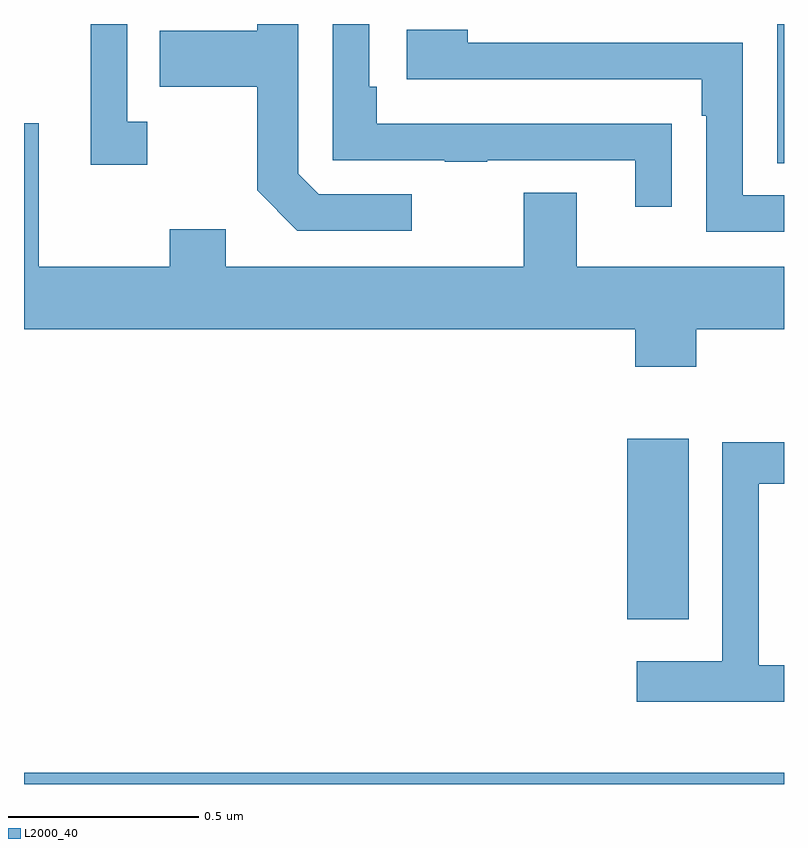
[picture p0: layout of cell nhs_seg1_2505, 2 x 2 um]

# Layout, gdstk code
import gdstk
lib = gdstk.Library(unit=1e-6, precision=1e-09)
def R(c, l, rs):  # rectangles x0, y0, x1, y1
    for r in rs: c.add(gdstk.rectangle(r[:2], r[2:], *l))
def P(c, l, *ps):  # polygons
    for p in ps: c.add(gdstk.Polygon(p, *l))
L2000_40 = (2000, 40)

nhs_seg1_2505 = lib.new_cell('nhs_seg1_2505')
R(nhs_seg1_2505, L2000_40, [(142,553.199,144,553.228), (143.588,553.632,143.749,554.107), (143.982,554.833,144,555.199)])
P(nhs_seg1_2505, L2000_40, [(143.705,554.936),(143.603,554.936),(143.603,554.937),(142.928,554.937),(142.928,555.034),(142.908,555.034),(142.908,555.199),(142.812,555.199),(142.812,554.841),(143.107,554.841),(143.107,554.836),(143.219,554.836),(143.219,554.841),(143.609,554.841),(143.609,554.718),(143.705,554.718)],
  [(143.02,554.751),(142.776,554.751),(142.722,554.805),(142.722,555.199),(142.614,555.199),(142.614,555.181),(142.357,555.181),(142.357,555.034),(142.614,555.034),(142.614,554.761),(142.719,554.655),(143.02,554.655)],
  [(142.324,554.942),(142.272,554.942),(142.272,555.199),(142.175,555.199),(142.175,554.829),(142.324,554.829)],
  [(144,554.748),(143.892,554.748),(143.892,555.15),(143.168,555.15),(143.168,555.184),(143.007,555.184),(143.007,555.054),(143.783,555.054),(143.783,554.957),(143.796,554.957),(143.796,554.652),(144,554.652)],
  [(143.769,554.396),(144,554.396),(144,554.56),(143.455,554.56),(143.455,554.755),(143.315,554.755),(143.315,554.56),(142.531,554.56),(142.531,554.659),(142.384,554.659),(142.384,554.56),(142.039,554.56),(142.039,554.938),(142,554.938),(142,554.396),(143.609,554.396),(143.609,554.297),(143.769,554.297)],
  [(144,553.512),(143.934,553.512),(143.934,553.989),(144,553.989),(144,554.098),(143.838,554.098),(143.838,553.522),(143.613,553.522),(143.613,553.415),(144,553.415)])

lib.write_gds('nhs_seg1_2505.gds')
